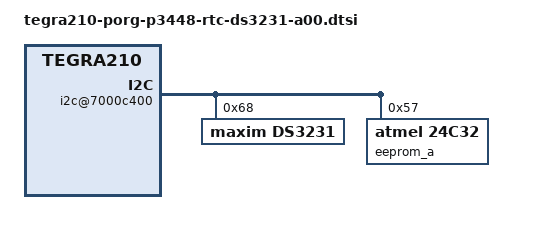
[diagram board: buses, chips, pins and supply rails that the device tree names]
#include <dt-bindings/platform/t210/t210.h>

/ {
i2c@7000c400 {
    status = "okay";
    ds3231: rtc@68 {
        compatible = "maxim,ds3231";
        reg = <0x68>;
        #clock-cells = <0>;
        status = "okay";
    };

   eeprom_a@57{
	compatible = "atmel,24c32";
	reg = <0x57>;
	pagesize = <32>;
	status = "okay";
	    };
    };
};
